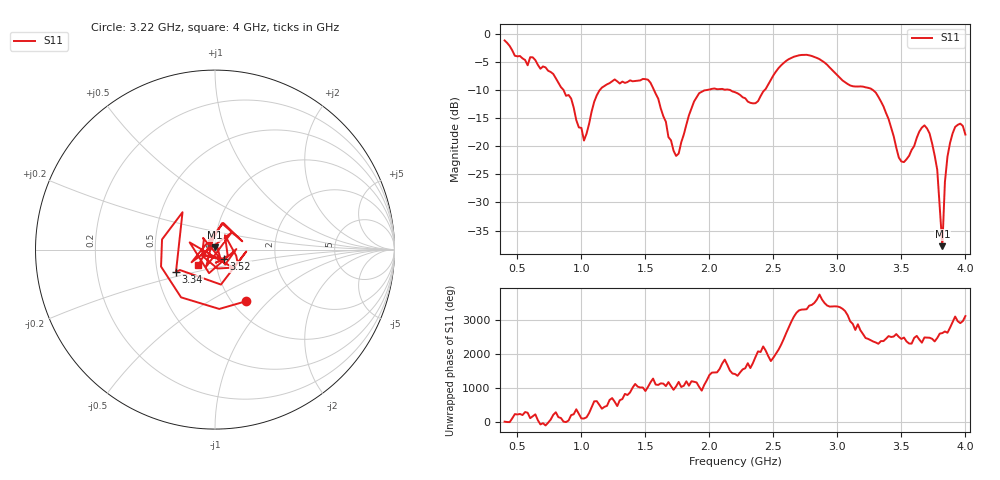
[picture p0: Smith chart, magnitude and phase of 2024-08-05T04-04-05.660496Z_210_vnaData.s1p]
!Created with skrf (http://scikit-rf.org).
# Hz S RI R 50.0
!freq ReS11 ImS11
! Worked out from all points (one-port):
!   181 points, 400 MHz to 4 GHz, reference 50 ohm
!   lowest |S11| = -37.8 dB at 3.82 GHz (marker M1), VSWR 1.03, Z = 50.1 + j1.29 ohm
!   |S11| at or under -10 dB: 860.7 MHz to 1.143 GHz (282.7 MHz wide, 28.2 % of centre); 1.567 GHz to 1.975 GHz (408 MHz wide, 23 % of centre); 3.278 GHz to end of sweep (the widest 3 of 4)
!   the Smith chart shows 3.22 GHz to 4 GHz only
!   S11 on the Smith chart (normalised r, x): 3.22 GHz: 1.15, -0.75; 3.34 GHz: 0.63, -0.17; 3.52 GHz: 1.10, -0.12; 4 GHz: 0.82, -0.14
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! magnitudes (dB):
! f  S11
! 400 MHz  -1.2
! 860 MHz  -10.0
! 920 MHz  -11.5
! 1.02 GHz  -19.0
! 1.14 GHz  -10.1
! 1.3 GHz  -8.8
! 1.52 GHz  -8.1
! 1.6 GHz  -11.5
! 1.72 GHz  -20.8
! 1.76 GHz  -21.3
! 1.92 GHz  -10.5
! 2.2 GHz  -10.4
! 2.36 GHz  -12.3
! 2.66 GHz  -4.1
! 2.86 GHz  -4.5
! 3.1 GHz  -9.2
! 3.22 GHz  -9.5
! 3.34 GHz  -12.0
! 3.52 GHz  -22.8
! 3.56 GHz  -21.7
! 3.66 GHz  -16.7
! 3.72 GHz  -17.7
! 3.78 GHz  -24.2
! 3.82 GHz  -37.8
! 3.84 GHz  -26.4
! 3.88 GHz  -19.4
! 3.94 GHz  -16.2
! 4 GHz  -17.9
